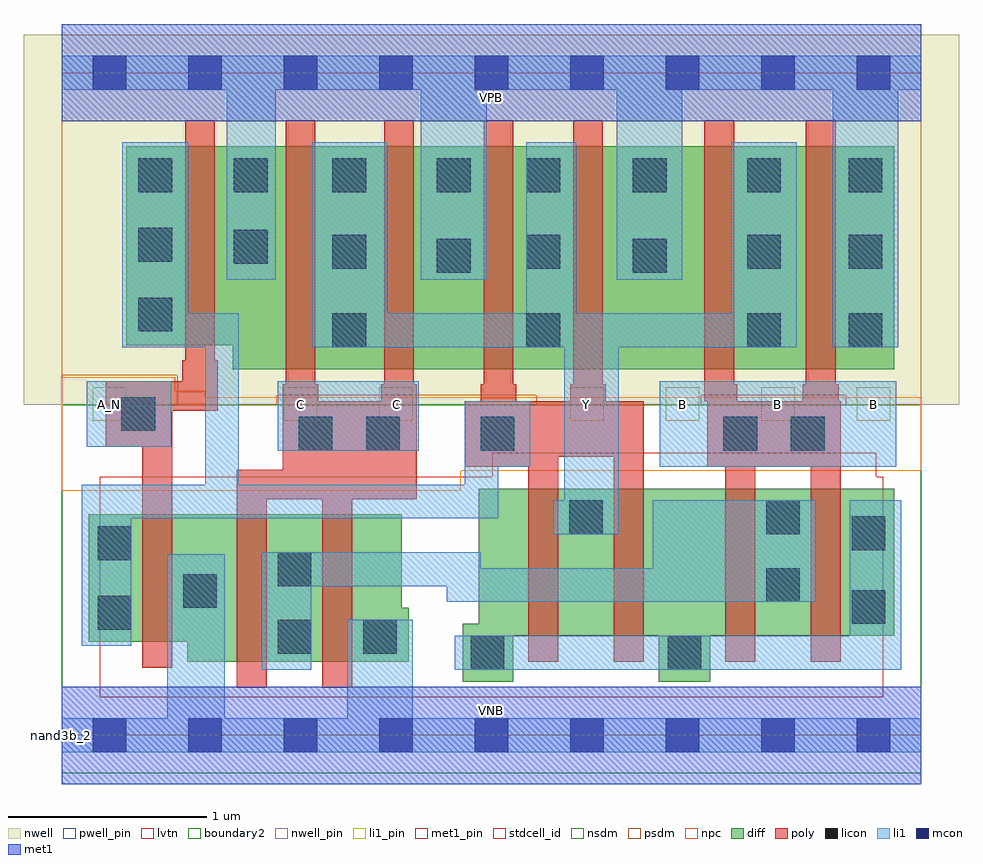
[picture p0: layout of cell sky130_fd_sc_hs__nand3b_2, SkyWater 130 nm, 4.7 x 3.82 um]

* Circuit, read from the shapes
.subckt sky130_fd_sc_hs__nand3b_2 A_N B C VGND VNB VPB VPWR Y
XM1 VGND A_N n1 VNB sky130_fd_pr__nfet_01v8_lvt w=0.64 l=0.15
XM2 n2 C VGND VNB sky130_fd_pr__nfet_01v8_lvt w=0.74 l=0.15 m=2
XM3 Y n1 n3 VNB sky130_fd_pr__nfet_01v8_lvt w=0.74 l=0.15 m=2
XM4 n2 B n3 VNB sky130_fd_pr__nfet_01v8_lvt w=0.74 l=0.15 m=2
XM5 VPWR A_N n1 VPB sky130_fd_pr__pfet_01v8 w=1 l=0.15
XM6 Y C VPWR VPB sky130_fd_pr__pfet_01v8 w=1.12 l=0.15 m=2
XM7 Y n1 VPWR VPB sky130_fd_pr__pfet_01v8 w=1.12 l=0.15 m=2
XM8 Y B VPWR VPB sky130_fd_pr__pfet_01v8 w=1.12 l=0.15 m=2
.ends

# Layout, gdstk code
import gdstk
lib = gdstk.Library(unit=1e-6, precision=1e-09)
def R(c, l, rs):  # rectangles x0, y0, x1, y1
    for r in rs: c.add(gdstk.rectangle(r[:2], r[2:], *l))
def A(c, l, x, y, w, h, nx, ny, dx, dy):  # array of equal rectangles
    R(c, l, [(x+i*dx, y+j*dy, x+i*dx+w, y+j*dy+h) for i in range(nx) for j in range(ny)])
def P(c, l, *ps):  # polygons
    for p in ps: c.add(gdstk.Polygon(p, *l))
nwell_pin = (64, 16)
nwell = (64, 20)
diff = (65, 20)
poly = (66, 20)
licon = (66, 44)
li1_pin = (67, 16)
li1 = (67, 20)
mcon = (67, 44)
met1_pin = (68, 16)
met1 = (68, 20)
stdcell_id = (81, 4)
nsdm = (93, 44)
psdm = (94, 20)
npc = (95, 20)
pwell_pin = (122, 16)
lvtn = (125, 44)
boundary2 = (236, 0)

sky130_fd_sc_hs__nand3b_ = lib.new_cell('sky130_fd_sc_hs__nand3b_2')
R(sky130_fd_sc_hs__nand3b_, nwell_pin, [(0,3.085,4.32,3.33)])
R(sky130_fd_sc_hs__nand3b_, nwell, [(-0.19,1.66,4.51,3.52)])
P(sky130_fd_sc_hs__nand3b_, diff, [(1.745,0.64),(1.71,0.64),(1.71,1.11),(0.135,1.11),(0.135,0.47),(0.63,0.47),(0.63,0.37),(1.745,0.37)],
  [(4.185,2.96),(0.325,2.96),(0.325,1.96),(0.86,1.96),(0.86,1.84),(4.185,1.84)],
  [(4.185,1.24),(2.095,1.24),(2.095,0.56),(2.015,0.56),(2.015,0.27),(2.27,0.27),(2.27,0.5),(3,0.5),(3,0.27),(3.26,0.27),(3.26,0.5),(4.185,0.5)])
P(sky130_fd_sc_hs__nand3b_, poly, [(3.915,1.68),(3.905,1.68),(3.905,1.765),(3.89,1.765),(3.89,3.09),(3.74,3.09),(3.74,1.765),(3.725,1.765),(3.725,1.68),(3.395,1.68),(3.395,1.765),(3.38,1.765),(3.38,3.09),(3.23,3.09),(3.23,1.68),(3.245,1.68),(3.245,1.35),(3.335,1.35),(3.335,0.37),(3.485,0.37),(3.485,1.35),(3.765,1.35),(3.765,0.37),(3.915,0.37)],
  [(2.925,1.68),(2.735,1.68),(2.735,1.765),(2.72,1.765),(2.72,3.09),(2.57,3.09),(2.57,1.765),(2.555,1.765),(2.555,1.68),(2.285,1.68),(2.285,1.765),(2.27,1.765),(2.27,3.09),(2.12,3.09),(2.12,1.765),(2.105,1.765),(2.105,1.68),(2.025,1.68),(2.025,1.35),(2.345,1.35),(2.345,0.37),(2.495,0.37),(2.495,1.4),(2.775,1.4),(2.775,0.37),(2.925,0.37)],
  [(1.785,1.765),(1.77,1.765),(1.77,3.09),(1.62,3.09),(1.62,1.765),(1.605,1.765),(1.605,1.68),(1.29,1.68),(1.29,1.765),(1.275,1.765),(1.275,3.09),(1.125,3.09),(1.125,1.765),(1.11,1.765),(1.11,1.335),(0.88,1.335),(0.88,0.24),(1.03,0.24),(1.03,1.185),(1.31,1.185),(1.31,0.24),(1.46,0.24),(1.46,1.185),(1.785,1.185)],
  [(0.785,1.885),(0.77,1.885),(0.77,3.09),(0.62,3.09),(0.62,1.885),(0.605,1.885),(0.605,1.78),(0.22,1.78),(0.22,1.45),(0.405,1.45),(0.405,0.34),(0.555,0.34),(0.555,1.63),(0.785,1.63)])
A(sky130_fd_sc_hs__nand3b_, licon, 0.385, 2.03, 0.17, 0.17, 1, 3, 0, 0.35)
R(sky130_fd_sc_hs__nand3b_, licon, [(2.055,0.33,2.225,0.5), (3.045,0.33,3.215,0.5), (1.085,0.41,1.255,0.58), (1.515,0.41,1.685,0.58), (0.18,0.53,0.35,0.7), (3.97,0.56,4.14,0.73), (0.61,0.64,0.78,0.81), (3.54,0.67,3.71,0.84), (1.085,0.75,1.255,0.92), (0.18,0.88,0.35,1.05), (3.97,0.93,4.14,1.1), (2.55,1.01,2.72,1.18), (3.54,1.01,3.71,1.18), (1.19,1.43,1.36,1.6), (1.53,1.43,1.7,1.6), (2.105,1.43,2.275,1.6), (3.325,1.43,3.495,1.6), (3.665,1.43,3.835,1.6), (0.3,1.53,0.47,1.7), (1.36,1.95,1.53,2.12), (2.335,1.95,2.505,2.12), (3.445,1.95,3.615,2.12), (3.955,1.95,4.125,2.12), (1.885,2.325,2.055,2.495), (2.87,2.325,3.04,2.495), (1.36,2.345,1.53,2.515), (2.335,2.345,2.505,2.515), (3.445,2.345,3.615,2.515), (3.955,2.345,4.125,2.515), (0.865,2.37,1.035,2.54), (0.865,2.73,1.035,2.9), (1.36,2.73,1.53,2.9), (1.885,2.73,2.055,2.9), (2.335,2.73,2.505,2.9), (2.87,2.73,3.04,2.9), (3.445,2.73,3.615,2.9), (3.955,2.73,4.125,2.9)])
A(sky130_fd_sc_hs__nand3b_, li1_pin, 2.555, 1.58, 0.17, 0.17, 4, 1, 0.48, 0)
R(sky130_fd_sc_hs__nand3b_, li1_pin, [(0.155,1.58,0.325,1.75), (1.115,1.58,1.285,1.75), (1.595,1.58,1.765,1.75)])
R(sky130_fd_sc_hs__nand3b_, li1, [(3.005,1.35,4.195,1.78), (1.085,1.43,1.795,1.78), (0.125,1.45,0.55,1.78)])
P(sky130_fd_sc_hs__nand3b_, li1, [(4.32,3.415),(0,3.415),(0,3.245),(0.83,3.245),(0.83,2.29),(1.075,2.29),(1.075,3.245),(1.805,3.245),(1.805,2.29),(2.135,2.29),(2.135,3.245),(2.79,3.245),(2.79,2.29),(3.12,2.29),(3.12,3.245),(3.875,3.245),(3.875,1.95),(4.205,1.95),(4.205,3.245),(4.32,3.245)],
  [(3.695,2.98),(3.365,2.98),(3.365,2.12),(2.585,2.12),(2.585,2.98),(2.335,2.98),(2.335,2.12),(1.635,2.12),(1.635,2.98),(1.26,2.98),(1.26,1.95),(2.525,1.95),(2.525,1.18),(2.47,1.18),(2.47,1.01),(2.8,1.01),(2.8,1.95),(3.695,1.95)],
  [(3.79,1.18),(2.97,1.18),(2.97,0.84),(2.105,0.84),(2.105,0.92),(1.005,0.92),(1.005,0.33),(1.255,0.33),(1.255,0.75),(1.935,0.75),(1.935,0.67),(3.79,0.67)],
  [(2.355,1.68),(2.025,1.68),(2.025,1.26),(0.89,1.26),(0.89,2.12),(0.635,2.12),(0.635,2.98),(0.305,2.98),(0.305,1.95),(0.72,1.95),(0.72,1.26),(0.1,1.26),(0.1,0.45),(0.35,0.45),(0.35,1.09),(2.195,1.09),(2.195,1.35),(2.355,1.35)],
  [(4.22,1.18),(3.96,1.18),(3.96,0.5),(1.975,0.5),(1.975,0.33),(4.22,0.33)],
  [(4.32,0.085),(1.765,0.085),(1.765,0.58),(1.435,0.58),(1.435,0.085),(0.82,0.085),(0.82,0.91),(0.53,0.91),(0.53,0.085),(0,0.085),(0,-0.085),(4.32,-0.085)])
A(sky130_fd_sc_hs__nand3b_, mcon, 0.155, -0.085, 0.17, 0.17, 9, 2, 0.48, 3.33)
R(sky130_fd_sc_hs__nand3b_, met1_pin, [(0,0,4.32,0.245), (0,3.085,4.32,3.33)])
R(sky130_fd_sc_hs__nand3b_, met1, [(0,-0.245,4.32,0.245), (0,3.085,4.32,3.575)])
R(sky130_fd_sc_hs__nand3b_, stdcell_id, [(0,0,4.32,3.33)])
R(sky130_fd_sc_hs__nand3b_, nsdm, [(0,-0.19,4.32,1.66)])
P(sky130_fd_sc_hs__nand3b_, psdm, [(4.32,3.52),(0,3.52),(0,1.81),(0.58,1.81),(0.58,1.66),(1.08,1.66),(1.08,1.71),(2.385,1.71),(2.385,1.66),(3.215,1.66),(3.215,1.71),(3.94,1.71),(3.94,1.66),(4.32,1.66)])
P(sky130_fd_sc_hs__nand3b_, npc, [(4.32,1.7),(0.72,1.7),(0.72,1.73),(0.57,1.73),(0.57,1.8),(0,1.8),(0,1.23),(2.005,1.23),(2.005,1.33),(4.32,1.33)])
R(sky130_fd_sc_hs__nand3b_, pwell_pin, [(0,0,4.32,0.245)])
P(sky130_fd_sc_hs__nand3b_, lvtn, [(4.13,1.3),(4.095,1.3),(4.095,1.42),(2.165,1.42),(2.165,1.3),(0.19,1.3),(0.19,0.19),(4.13,0.19)])
R(sky130_fd_sc_hs__nand3b_, boundary2, [(0,0,4.32,3.33)])
sky130_fd_sc_hs__nand3b_.add(gdstk.Label('nand3b_2', (0,0), layer=83, texttype=44))
sky130_fd_sc_hs__nand3b_.add(gdstk.Label('VNB', (2.16,0.123), layer=64, texttype=59))
sky130_fd_sc_hs__nand3b_.add(gdstk.Label('VPB', (2.16,3.208), layer=64, texttype=5))
sky130_fd_sc_hs__nand3b_.add(gdstk.Label('VPWR', (2.16,3.208), layer=68, texttype=5))
sky130_fd_sc_hs__nand3b_.add(gdstk.Label('VGND', (2.16,0.123), layer=68, texttype=5))
sky130_fd_sc_hs__nand3b_.add(gdstk.Label('Y', (2.64,1.665), layer=67, texttype=5))
sky130_fd_sc_hs__nand3b_.add(gdstk.Label('A_N', (0.24,1.665), layer=67, texttype=5))
sky130_fd_sc_hs__nand3b_.add(gdstk.Label('C', (1.2,1.665), layer=67, texttype=5))
sky130_fd_sc_hs__nand3b_.add(gdstk.Label('C', (1.68,1.665), layer=67, texttype=5))
sky130_fd_sc_hs__nand3b_.add(gdstk.Label('B', (3.12,1.665), layer=67, texttype=5))
sky130_fd_sc_hs__nand3b_.add(gdstk.Label('B', (3.6,1.665), layer=67, texttype=5))
sky130_fd_sc_hs__nand3b_.add(gdstk.Label('B', (4.08,1.665), layer=67, texttype=5))

lib.write_gds('sky130_fd_sc_hs__nand3b_2.gds')
